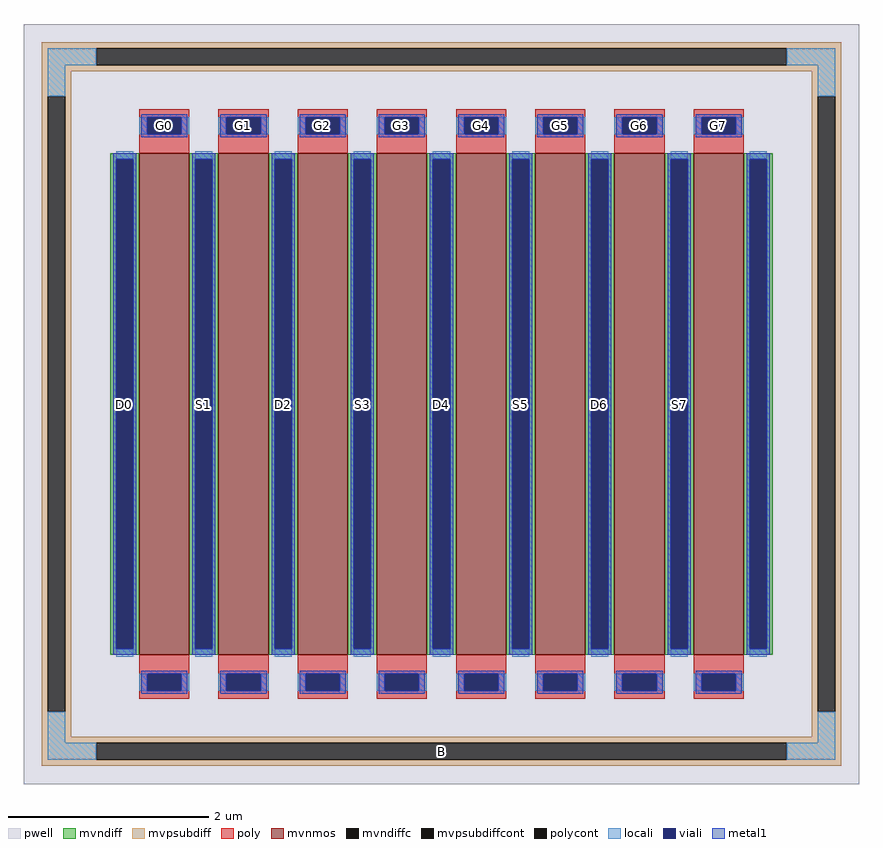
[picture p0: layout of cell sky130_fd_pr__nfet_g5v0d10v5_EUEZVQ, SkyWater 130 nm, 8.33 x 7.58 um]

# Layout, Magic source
magic
tech sky130A
magscale 1 2
<< pwell >>
rect -833 -758 833 758
<< mvnmos >>
rect -603 -500 -503 500
rect -445 -500 -345 500
rect -287 -500 -187 500
rect -129 -500 -29 500
rect 29 -500 129 500
rect 187 -500 287 500
rect 345 -500 445 500
rect 503 -500 603 500
<< mvndiff >>
rect -661 488 -603 500
rect -661 -488 -649 488
rect -615 -488 -603 488
rect -661 -500 -603 -488
rect -503 488 -445 500
rect -503 -488 -491 488
rect -457 -488 -445 488
rect -503 -500 -445 -488
rect -345 488 -287 500
rect -345 -488 -333 488
rect -299 -488 -287 488
rect -345 -500 -287 -488
rect -187 488 -129 500
rect -187 -488 -175 488
rect -141 -488 -129 488
rect -187 -500 -129 -488
rect -29 488 29 500
rect -29 -488 -17 488
rect 17 -488 29 488
rect -29 -500 29 -488
rect 129 488 187 500
rect 129 -488 141 488
rect 175 -488 187 488
rect 129 -500 187 -488
rect 287 488 345 500
rect 287 -488 299 488
rect 333 -488 345 488
rect 287 -500 345 -488
rect 445 488 503 500
rect 445 -488 457 488
rect 491 -488 503 488
rect 445 -500 503 -488
rect 603 488 661 500
rect 603 -488 615 488
rect 649 -488 661 488
rect 603 -500 661 -488
<< mvndiffc >>
rect -649 -488 -615 488
rect -491 -488 -457 488
rect -333 -488 -299 488
rect -175 -488 -141 488
rect -17 -488 17 488
rect 141 -488 175 488
rect 299 -488 333 488
rect 457 -488 491 488
rect 615 -488 649 488
<< mvpsubdiff >>
rect -797 710 797 722
rect -797 676 -689 710
rect 689 676 797 710
rect -797 664 797 676
rect -797 614 -739 664
rect -797 -614 -785 614
rect -751 -614 -739 614
rect 739 614 797 664
rect -797 -664 -739 -614
rect 739 -614 751 614
rect 785 -614 797 614
rect 739 -664 797 -614
rect -797 -676 797 -664
rect -797 -710 -689 -676
rect 689 -710 797 -676
rect -797 -722 797 -710
<< mvpsubdiffcont >>
rect -689 676 689 710
rect -785 -614 -751 614
rect 751 -614 785 614
rect -689 -710 689 -676
<< poly >>
rect -603 572 -503 588
rect -603 538 -587 572
rect -519 538 -503 572
rect -603 500 -503 538
rect -445 572 -345 588
rect -445 538 -429 572
rect -361 538 -345 572
rect -445 500 -345 538
rect -287 572 -187 588
rect -287 538 -271 572
rect -203 538 -187 572
rect -287 500 -187 538
rect -129 572 -29 588
rect -129 538 -113 572
rect -45 538 -29 572
rect -129 500 -29 538
rect 29 572 129 588
rect 29 538 45 572
rect 113 538 129 572
rect 29 500 129 538
rect 187 572 287 588
rect 187 538 203 572
rect 271 538 287 572
rect 187 500 287 538
rect 345 572 445 588
rect 345 538 361 572
rect 429 538 445 572
rect 345 500 445 538
rect 503 572 603 588
rect 503 538 519 572
rect 587 538 603 572
rect 503 500 603 538
rect -603 -538 -503 -500
rect -603 -572 -587 -538
rect -519 -572 -503 -538
rect -603 -588 -503 -572
rect -445 -538 -345 -500
rect -445 -572 -429 -538
rect -361 -572 -345 -538
rect -445 -588 -345 -572
rect -287 -538 -187 -500
rect -287 -572 -271 -538
rect -203 -572 -187 -538
rect -287 -588 -187 -572
rect -129 -538 -29 -500
rect -129 -572 -113 -538
rect -45 -572 -29 -538
rect -129 -588 -29 -572
rect 29 -538 129 -500
rect 29 -572 45 -538
rect 113 -572 129 -538
rect 29 -588 129 -572
rect 187 -538 287 -500
rect 187 -572 203 -538
rect 271 -572 287 -538
rect 187 -588 287 -572
rect 345 -538 445 -500
rect 345 -572 361 -538
rect 429 -572 445 -538
rect 345 -588 445 -572
rect 503 -538 603 -500
rect 503 -572 519 -538
rect 587 -572 603 -538
rect 503 -588 603 -572
<< polycont >>
rect -587 538 -519 572
rect -429 538 -361 572
rect -271 538 -203 572
rect -113 538 -45 572
rect 45 538 113 572
rect 203 538 271 572
rect 361 538 429 572
rect 519 538 587 572
rect -587 -572 -519 -538
rect -429 -572 -361 -538
rect -271 -572 -203 -538
rect -113 -572 -45 -538
rect 45 -572 113 -538
rect 203 -572 271 -538
rect 361 -572 429 -538
rect 519 -572 587 -538
<< locali >>
rect -785 676 -689 710
rect 689 676 785 710
rect -785 614 -751 676
rect 751 614 785 676
rect -603 538 -587 572
rect -519 538 -503 572
rect -445 538 -429 572
rect -361 538 -345 572
rect -287 538 -271 572
rect -203 538 -187 572
rect -129 538 -113 572
rect -45 538 -29 572
rect 29 538 45 572
rect 113 538 129 572
rect 187 538 203 572
rect 271 538 287 572
rect 345 538 361 572
rect 429 538 445 572
rect 503 538 519 572
rect 587 538 603 572
rect -649 488 -615 504
rect -649 -504 -615 -488
rect -491 488 -457 504
rect -491 -504 -457 -488
rect -333 488 -299 504
rect -333 -504 -299 -488
rect -175 488 -141 504
rect -175 -504 -141 -488
rect -17 488 17 504
rect -17 -504 17 -488
rect 141 488 175 504
rect 141 -504 175 -488
rect 299 488 333 504
rect 299 -504 333 -488
rect 457 488 491 504
rect 457 -504 491 -488
rect 615 488 649 504
rect 615 -504 649 -488
rect -603 -572 -587 -538
rect -519 -572 -503 -538
rect -445 -572 -429 -538
rect -361 -572 -345 -538
rect -287 -572 -271 -538
rect -203 -572 -187 -538
rect -129 -572 -113 -538
rect -45 -572 -29 -538
rect 29 -572 45 -538
rect 113 -572 129 -538
rect 187 -572 203 -538
rect 271 -572 287 -538
rect 345 -572 361 -538
rect 429 -572 445 -538
rect 503 -572 519 -538
rect 587 -572 603 -538
rect -785 -676 -751 -614
rect 751 -676 785 -614
rect -785 -710 -689 -676
rect 689 -710 785 -676
<< viali >>
rect -587 538 -519 572
rect -429 538 -361 572
rect -271 538 -203 572
rect -113 538 -45 572
rect 45 538 113 572
rect 203 538 271 572
rect 361 538 429 572
rect 519 538 587 572
rect -649 -488 -615 488
rect -491 -488 -457 488
rect -333 -488 -299 488
rect -175 -488 -141 488
rect -17 -488 17 488
rect 141 -488 175 488
rect 299 -488 333 488
rect 457 -488 491 488
rect 615 -488 649 488
rect -587 -572 -519 -538
rect -429 -572 -361 -538
rect -271 -572 -203 -538
rect -113 -572 -45 -538
rect 45 -572 113 -538
rect 203 -572 271 -538
rect 361 -572 429 -538
rect 519 -572 587 -538
<< metal1 >>
rect -599 572 -507 578
rect -599 538 -587 572
rect -519 538 -507 572
rect -599 532 -507 538
rect -441 572 -349 578
rect -441 538 -429 572
rect -361 538 -349 572
rect -441 532 -349 538
rect -283 572 -191 578
rect -283 538 -271 572
rect -203 538 -191 572
rect -283 532 -191 538
rect -125 572 -33 578
rect -125 538 -113 572
rect -45 538 -33 572
rect -125 532 -33 538
rect 33 572 125 578
rect 33 538 45 572
rect 113 538 125 572
rect 33 532 125 538
rect 191 572 283 578
rect 191 538 203 572
rect 271 538 283 572
rect 191 532 283 538
rect 349 572 441 578
rect 349 538 361 572
rect 429 538 441 572
rect 349 532 441 538
rect 507 572 599 578
rect 507 538 519 572
rect 587 538 599 572
rect 507 532 599 538
rect -655 488 -609 500
rect -655 -488 -649 488
rect -615 -488 -609 488
rect -655 -500 -609 -488
rect -497 488 -451 500
rect -497 -488 -491 488
rect -457 -488 -451 488
rect -497 -500 -451 -488
rect -339 488 -293 500
rect -339 -488 -333 488
rect -299 -488 -293 488
rect -339 -500 -293 -488
rect -181 488 -135 500
rect -181 -488 -175 488
rect -141 -488 -135 488
rect -181 -500 -135 -488
rect -23 488 23 500
rect -23 -488 -17 488
rect 17 -488 23 488
rect -23 -500 23 -488
rect 135 488 181 500
rect 135 -488 141 488
rect 175 -488 181 488
rect 135 -500 181 -488
rect 293 488 339 500
rect 293 -488 299 488
rect 333 -488 339 488
rect 293 -500 339 -488
rect 451 488 497 500
rect 451 -488 457 488
rect 491 -488 497 488
rect 451 -500 497 -488
rect 609 488 655 500
rect 609 -488 615 488
rect 649 -488 655 488
rect 609 -500 655 -488
rect -599 -538 -507 -532
rect -599 -572 -587 -538
rect -519 -572 -507 -538
rect -599 -578 -507 -572
rect -441 -538 -349 -532
rect -441 -572 -429 -538
rect -361 -572 -349 -538
rect -441 -578 -349 -572
rect -283 -538 -191 -532
rect -283 -572 -271 -538
rect -203 -572 -191 -538
rect -283 -578 -191 -572
rect -125 -538 -33 -532
rect -125 -572 -113 -538
rect -45 -572 -33 -538
rect -125 -578 -33 -572
rect 33 -538 125 -532
rect 33 -572 45 -538
rect 113 -572 125 -538
rect 33 -578 125 -572
rect 191 -538 283 -532
rect 191 -572 203 -538
rect 271 -572 283 -538
rect 191 -578 283 -572
rect 349 -538 441 -532
rect 349 -572 361 -538
rect 429 -572 441 -538
rect 349 -578 441 -572
rect 507 -538 599 -532
rect 507 -572 519 -538
rect 587 -572 599 -538
rect 507 -578 599 -572
<< labels >>
rlabel mvpsubdiffcont 0 -693 0 -693 0 B
port 1 nsew
rlabel mvndiffc -632 0 -632 0 0 D0
port 2 nsew
rlabel polycont -553 555 -553 555 0 G0
port 3 nsew
rlabel mvndiffc -474 0 -474 0 0 S1
port 4 nsew
rlabel polycont -395 555 -395 555 0 G1
port 5 nsew
rlabel mvndiffc -316 0 -316 0 0 D2
port 6 nsew
rlabel polycont -237 555 -237 555 0 G2
port 7 nsew
rlabel mvndiffc -158 0 -158 0 0 S3
port 8 nsew
rlabel polycont -79 555 -79 555 0 G3
port 9 nsew
rlabel mvndiffc 0 0 0 0 0 D4
port 10 nsew
rlabel polycont 79 555 79 555 0 G4
port 11 nsew
rlabel mvndiffc 158 0 158 0 0 S5
port 12 nsew
rlabel polycont 237 555 237 555 0 G5
port 13 nsew
rlabel mvndiffc 316 0 316 0 0 D6
port 14 nsew
rlabel polycont 395 555 395 555 0 G6
port 15 nsew
rlabel mvndiffc 474 0 474 0 0 S7
port 16 nsew
rlabel polycont 553 555 553 555 0 G7
port 17 nsew
<< properties >>
string FIXED_BBOX -768 -693 768 693
string gencell sky130_fd_pr__nfet_g5v0d10v5
string library sky130
string parameters w 5 l 0.50 m 1 nf 8 diffcov 100 polycov 100 guard 1 glc 1 grc 1 gtc 1 gbc 1 tbcov 100 rlcov 100 topc 1 botc 1 poverlap 0 doverlap 1 lmin 0.50 wmin 0.42 class mosfet compatible {sky130_fd_pr__nfet_01v8 sky130_fd_pr__nfet_01v8_lvt  sky130_fd_bs_flash__special_sonosfet_star  sky130_fd_pr__nfet_g5v0d10v5 sky130_fd_pr__nfet_05v0_nvt  sky130_fd_pr__nfet_03v3_nvt} full_metal 1 conn_gates 0 viasrc 100 viadrn 100 viagate 100 viagb 0 viagr 0 viagl 0 viagt 0 doports 1
<< end >>
